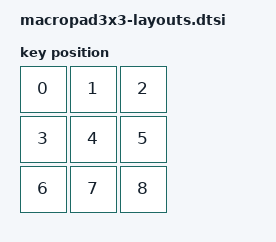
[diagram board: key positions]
#include <physical_layouts.dtsi>

/ {
    physical_layout_macropad3x3: physical_layout_macropad3x3 {
        compatible = "zmk,physical-layout";
        display-name = "Macropad3x3";
        keys  //                     w   h    x    y     rot    rx    ry
            = <&key_physical_attrs 100 100    0    0       0     0     0>
            , <&key_physical_attrs 100 100  100    0       0     0     0>
            , <&key_physical_attrs 100 100  200    0       0     0     0>
            , <&key_physical_attrs 100 100    0  100       0     0     0>
            , <&key_physical_attrs 100 100  100  100       0     0     0>
            , <&key_physical_attrs 100 100  200  100       0     0     0>
            , <&key_physical_attrs 100 100    0  200       0     0     0>
            , <&key_physical_attrs 100 100  100  200       0     0     0>
            , <&key_physical_attrs 100 100  200  200       0     0     0>
            ;
    };
};
